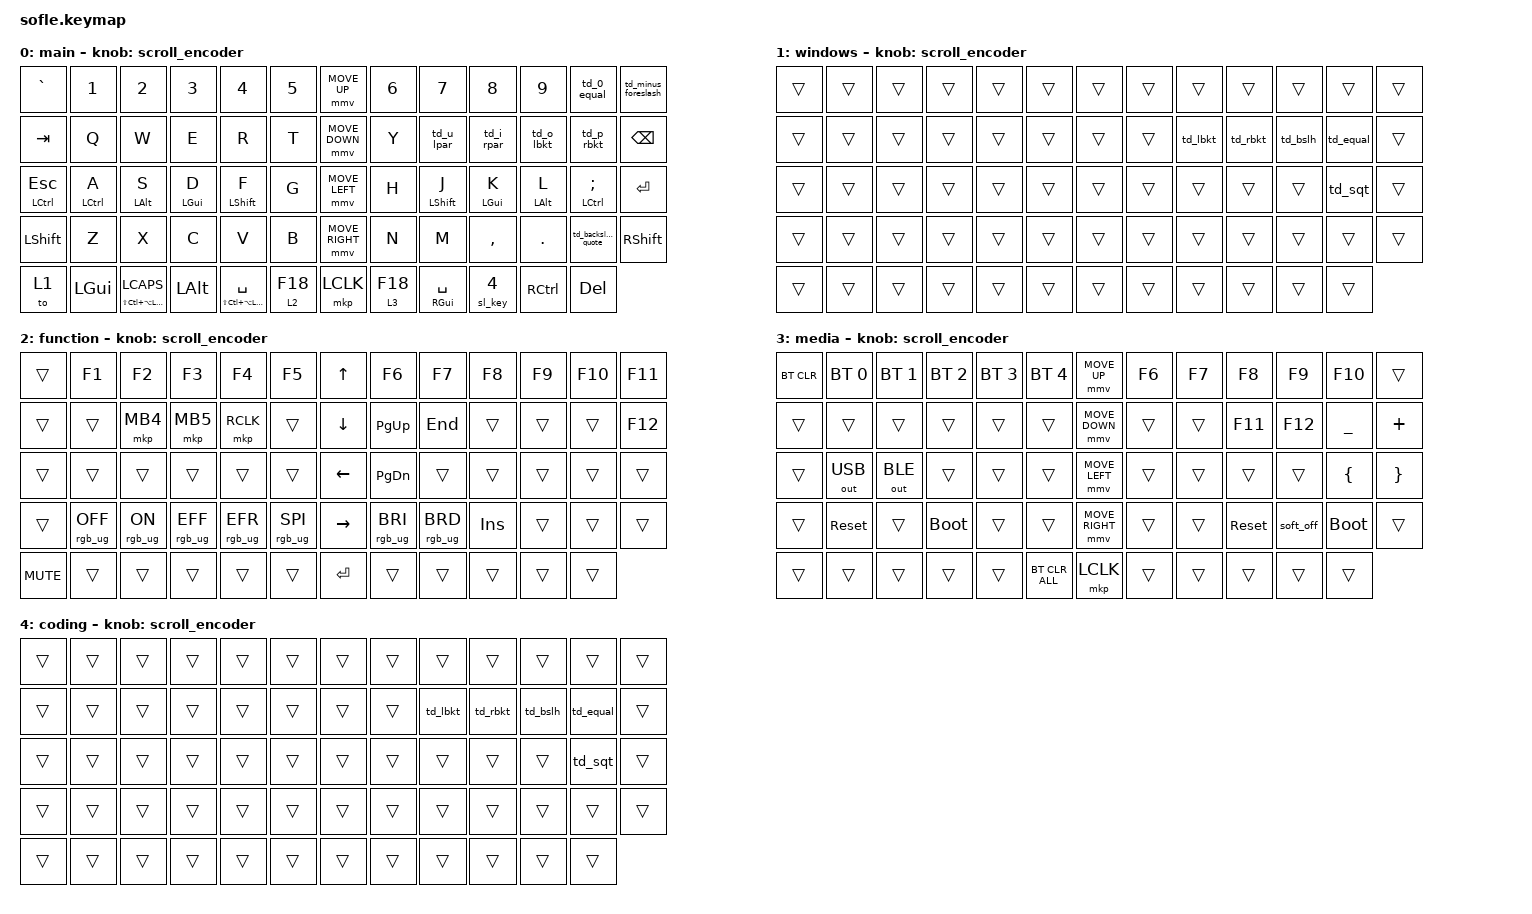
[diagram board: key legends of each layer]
#include <behaviors/mouse_keys.dtsi>
#include <behaviors.dtsi>
#include <dt-bindings/zmk/mouse.h>
#include <dt-bindings/zmk/bt.h>
#include <dt-bindings/zmk/keys.h>
#include <dt-bindings/zmk/outputs.h>
#include <dt-bindings/zmk/rgb.h>

#define ZMK_MOUSE_DEFAULT_MOVE_VAL 2000  // 600
#define ZMK_MOUSE_DEFAULT_SCRL_VAL 50    // 10
#define U_MS_U &mmv MOVE_UP
#define U_MS_D &mmv MOVE_DOWN
#define U_MS_L &mmv MOVE_LEFT
#define U_MS_R &mmv MOVE_RIGHT

/ {
    behaviors {
        mmv {
            acceleration-exponent = <1>;      // 1
            time-to-max-speed-ms = <300>;    // 40
            delay-ms = <0>;                   // 0
        };

        msc {
            acceleration-exponent = <2>;      // 0
            time-to-max-speed-ms = <300>;      // 500
            delay-ms = <0>;                   //   10
        };

        hrt: home_row_tab {
            compatible = "zmk,behavior-hold-tap";
            #binding-cells = <2>;
            flavor = "tap-preferred";
            tapping-term-ms = <150>;
            quick-tap-ms = <200>;
            require-prior-idle-ms = <150>;
            bindings = <&kp>, <&kp>;
        };

        // 간소화된 탭댄스 정의
        td_lbkt: tap_dance_lbkt {
            compatible = "zmk,behavior-tap-dance";
            #binding-cells = <0>;
            tapping-term-ms = <200>;
            bindings = <&kp LBKT>, <&kp LBRC>;  // [ 와 {
        };

        td_rbkt: tap_dance_rbkt {
            compatible = "zmk,behavior-tap-dance";
            #binding-cells = <0>;
            tapping-term-ms = <200>;
            bindings = <&kp RBKT>, <&kp RBRC>;  // ] 와 }
        };

        td_bslh: tap_dance_bslh {
            compatible = "zmk,behavior-tap-dance";
            #binding-cells = <0>;
            tapping-term-ms = <200>;
            bindings = <&kp BSLH>, <&kp PIPE>;  // \ 와 |
        };

        td_equal: tap_dance_equal {
            compatible = "zmk,behavior-tap-dance";
            #binding-cells = <0>;
            tapping-term-ms = <200>;
            bindings = <&kp EQUAL>, <&kp PLUS>;  // = 와 +
        };

        td_sqt: tap_dance_sqt {
            compatible = "zmk,behavior-tap-dance";
            #binding-cells = <0>;
            tapping-term-ms = <200>;
            bindings = <&kp SQT>, <&kp DQT>;  // ' 와 "
        };

        td_o_lbkt: tap_dance_o_lbkt {
            compatible = "zmk,behavior-tap-dance";
            #binding-cells = <0>;
            tapping-term-ms = <200>;
            bindings = <&kp O>, <&kp LBKT>;  // o[ 와 o{
        };

        td_p_rbkt: tap_dance_p_rbkt {
            compatible = "zmk,behavior-tap-dance";
            #binding-cells = <0>;
            tapping-term-ms = <200>;
            bindings = <&kp P>, <&kp RBKT>;  // o] 와 o}
        };

        td_0_equal: tap_dance_0_equal {
            compatible = "zmk,behavior-tap-dance";
            #binding-cells = <0>;
            tapping-term-ms = <200>;
            bindings = <&kp N0>, <&kp EQUAL>;  // 0 와 =
        };

        td_minus_foreslash: tap_dance_minus_slash {
            compatible = "zmk,behavior-tap-dance";
            #binding-cells = <0>;
            tapping-term-ms = <200>;
            bindings = <&kp MINUS>, <&kp BSLH>;  // - 와 /
        };

        td_backslash_quote: tap_dance_backslash_quote {
            compatible = "zmk,behavior-tap-dance";
            #binding-cells = <0>;
            tapping-term-ms = <200>;
            bindings = <&kp FSLH>, <&kp SQT>;  // \ 와 '
        };

        td_u_lpar: tap_dance_u_lpar {
            compatible = "zmk,behavior-tap-dance";
            #binding-cells = <0>;
            tapping-term-ms = <200>;
            bindings = <&kp U>, <&kp LPAR>;  // u( 와 u[
        };

        td_i_rpar: tap_dance_i_rpar {
            compatible = "zmk,behavior-tap-dance";
            #binding-cells = <0>;
            tapping-term-ms = <200>;
            bindings = <&kp I>, <&kp RPAR>;  // i) 와 i]
        };

        // 스티키 레이어 정의
        sl_key: sticky_layer {
            compatible = "zmk,behavior-sticky-key";
            #binding-cells = <1>;
            bindings = <&mo>;
            release-after-ms = <1000>;
            quick-release;
        };
    };

    scroll_encoder: scroll_encoder {
        compatible = "zmk,behavior-sensor-rotate";
        #sensor-binding-cells = <0>;
        bindings = <&msc SCRL_DOWN>, <&msc SCRL_UP>;

        tap-ms = <20>;
    };

    keymap {
        compatible = "zmk,keymap";
        
        layer_0 {
            bindings = <
            &kp GRAVE        &kp N1        &kp N2                        &kp N3         &kp N4                      &kp N5     &mmv MOVE_UP     &kp N6      &kp N7           &kp N8         &kp N9         &td_0_equal            &td_minus_foreslash
            &kp TAB          &kp Q         &kp W                         &kp E          &kp R                       &kp T      &mmv MOVE_DOWN   &kp Y       &td_u_lpar       &td_i_rpar     &td_o_lbkt     &td_p_rbkt             &kp BACKSPACE
            &mt LCTRL ESC    &hrt LCTRL A  &hrt LALT S                   &hrt LGUI D    &hrt LSHIFT F               &kp G      &mmv MOVE_LEFT   &kp H       &hrt LSHIFT J    &hrt LGUI K    &hrt LALT L    &hrt LCTRL SEMI        &kp ENTER
            &kp LSHIFT       &kp Z         &kp X                         &kp C          &kp V                       &kp B      &mmv MOVE_RIGHT  &kp N       &kp M            &kp COMMA      &kp DOT        &td_backslash_quote    &kp RSHIFT
            &to 1            &kp LGUI      &hrt LS(LC(LA(LGUI))) LCAPS   &kp LALT       &hrt LS(LC(LA(LGUI))) SPACE &lt 2 F18  &mkp LCLK        &lt 3 F18   &mt RGUI SPACE   &sl_key 4      &kp RCTRL      &kp DEL
            >;
            
            display-name = "main";
            sensor-bindings = <&scroll_encoder>;
        };

        layer_1 {
            bindings = <
            &trans  &trans  &trans  &trans  &trans  &trans  &trans  &trans  &trans    &trans   &trans        &trans     &trans
            &trans  &trans  &trans  &trans  &trans  &trans  &trans  &trans  &td_lbkt  &td_rbkt &td_bslh      &td_equal  &trans
            &trans  &trans  &trans  &trans  &trans  &trans  &trans  &trans  &trans    &trans   &trans        &td_sqt    &trans
            &trans  &trans  &trans  &trans  &trans  &trans  &trans  &trans  &trans    &trans   &trans        &trans     &trans
            &trans  &trans  &trans  &trans  &trans  &trans  &trans  &trans  &trans    &trans   &trans        &trans
            >;

            display-name = "windows";
            sensor-bindings = <&scroll_encoder>;
        };
        
        layer_2 {
            bindings = <
            &trans      &kp F1           &kp F2          &kp F3           &kp F4           &kp F5             &kp UP        &kp F6           &kp F7           &kp F8       &kp F9    &kp F10  &kp F11
            &trans      &trans           &mkp MB4        &mkp MB5         &mkp RCLK        &trans             &kp DOWN      &kp PG_UP        &kp END          &trans       &trans    &trans   &kp F12
            &trans      &trans           &trans          &trans           &trans           &trans             &kp LEFT      &kp PG_DN        &trans           &trans       &trans    &trans   &trans
            &trans      &rgb_ug RGB_OFF  &rgb_ug RGB_ON  &rgb_ug RGB_EFF  &rgb_ug RGB_EFR  &rgb_ug RGB_SPI    &kp RIGHT     &rgb_ug RGB_BRI  &rgb_ug RGB_BRD  &kp INSERT   &trans    &trans   &trans
            &kp C_MUTE  &trans           &trans          &trans           &trans           &trans             &kp ENTER     &trans           &trans           &trans       &trans    &trans
            >;
         
            display-name = "function";
            sensor-bindings = <&scroll_encoder>;
        };

        layer_3 {
            bindings = <
            &bt BT_CLR      &bt BT_SEL 0  &bt BT_SEL 1    &bt BT_SEL 2  &bt BT_SEL 3  &bt BT_SEL 4    &mmv MOVE_UP     &kp F6  &kp F7  &kp F8      &kp F9     &kp F10      &trans
            &trans          &trans        &trans          &trans        &trans        &trans          &mmv MOVE_DOWN   &trans  &trans  &kp F11     &kp F12    &kp UNDER    &kp PLUS
            &trans          &out OUT_USB  &out OUT_BLE    &trans        &trans        &trans          &mmv MOVE_LEFT   &trans  &trans  &trans      &trans     &kp LBRC     &kp RBRC
            &trans          &sys_reset    &trans          &bootloader   &trans        &trans          &mmv MOVE_RIGHT  &trans  &trans  &sys_reset  &soft_off  &bootloader  &trans
            &trans          &trans        &trans          &trans        &trans        &bt BT_CLR_ALL  &mkp LCLK        &trans  &trans  &trans      &trans     &trans
            >;

            display-name = "media";
            sensor-bindings = <&scroll_encoder>;
        };


        layer_4 {
            bindings = <
            &trans  &trans  &trans  &trans  &trans  &trans  &trans  &trans  &trans    &trans   &trans        &trans     &trans
            &trans  &trans  &trans  &trans  &trans  &trans  &trans  &trans  &td_lbkt  &td_rbkt &td_bslh      &td_equal  &trans
            &trans  &trans  &trans  &trans  &trans  &trans  &trans  &trans  &trans    &trans   &trans        &td_sqt    &trans
            &trans  &trans  &trans  &trans  &trans  &trans  &trans  &trans  &trans    &trans   &trans        &trans     &trans
            &trans  &trans  &trans  &trans  &trans  &trans  &trans  &trans  &trans    &trans   &trans        &trans
            >;

            display-name = "coding";
            sensor-bindings = <&scroll_encoder>;
        };
    };
};
